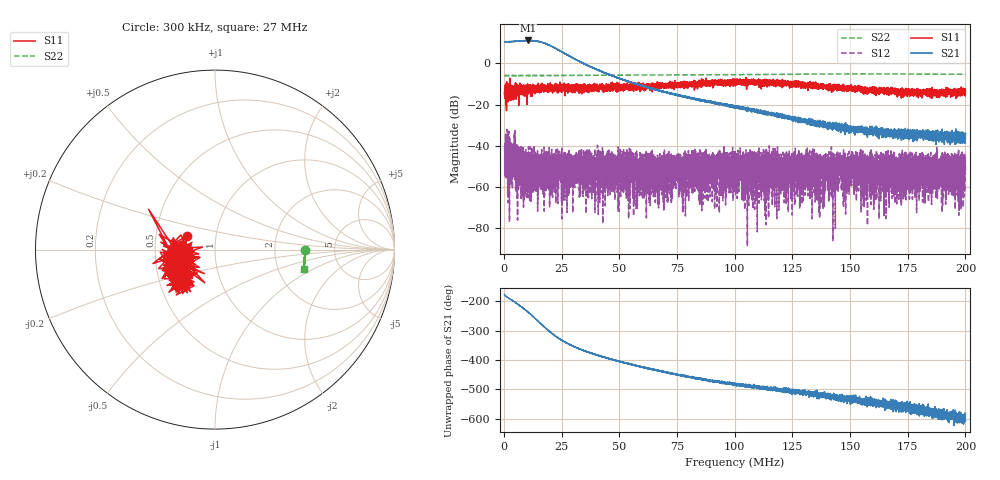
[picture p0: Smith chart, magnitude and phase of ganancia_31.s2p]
# Hz S DB R 50
! CMT, M5065, 19127446, 24.2.4/2
! Date: 11/8/2024 3:07:24 PM
! Data: Format (Calibration Info)
! Freq	S11:dB/Ang(F2)	S21:dB/Ang(F2)	S12:dB/Ang(F2)	S22:dB/Ang(F2)
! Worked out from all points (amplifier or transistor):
!   9000 points, 300 kHz to 200 MHz, reference 50 ohm
!   highest |S21| = 11.0 dB at 10.4 MHz (marker M1)
!   |S21| within 3 dB of that: start of sweep to 20.91 MHz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
!   unconditionally stable (mu >= 1): start of sweep to end of sweep
!   at 33.59 MHz: K = 109.00, MAG = 2.1 dB, |S12| = -50.5 dB
!   at 100.2 MHz: K = 4205.65, MAG = -19.6 dB, |S12| = -60.8 dB
!   at 200 MHz: K = 4798.59, MAG = -32.3 dB, |S12| = -49.0 dB
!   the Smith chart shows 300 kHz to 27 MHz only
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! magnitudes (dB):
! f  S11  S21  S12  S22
! 300 kHz  -15.3  10.4  -40.4  -6.0
! 1.543 MHz  -14.3  10.4  -40.6  -6.0
! 10.4 MHz  -11.0  11.0  -47.3  -6.0
! 18.5 MHz  -11.4  9.3  -42.9  -6.0
! 33.59 MHz  -11.2  0.5  -50.5  -5.9
! 60.75 MHz  -10.6  -11.2  -54.2  -5.7
! 63.32 MHz  -11.5  -12.1  -53.4  -5.7
! 66.87 MHz  -11.8  -13.0  -56.7  -5.7
! 74.57 MHz  -11.4  -15.1  -54.0  -5.6
! 76.77 MHz  -10.2  -15.9  -51.1  -5.6
! 82.47 MHz  -11.0  -17.4  -47.3  -5.6
! 100.2 MHz  -9.6  -21.5  -60.8  -5.6
! 133.4 MHz  -10.9  -27.0  -55.5  -5.3
! 135.8 MHz  -11.4  -28.5  -66.3  -5.3
! 145 MHz  -12.2  -32.0  -56.0  -5.2
! 148 MHz  -12.4  -31.4  -59.1  -5.2
! 150.6 MHz  -11.9  -31.9  -47.5  -5.2
! 152.7 MHz  -11.6  -33.0  -61.9  -5.2
! 166.7 MHz  -13.3  -34.5  -58.8  -5.2
! 194.5 MHz  -14.1  -35.4  -50.0  -5.4
! 198.1 MHz  -11.5  -36.3  -45.3  -5.3
! 200 MHz  -14.9  -33.9  -49.0  -5.4
